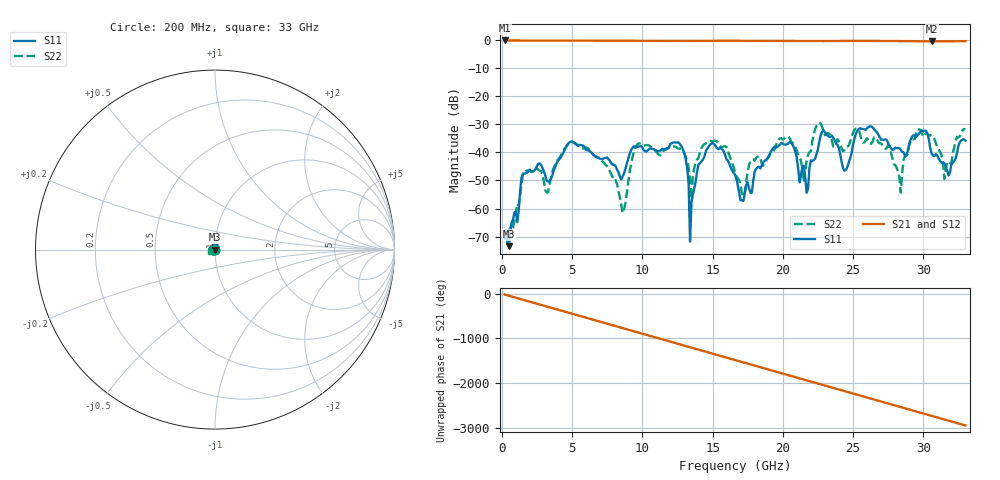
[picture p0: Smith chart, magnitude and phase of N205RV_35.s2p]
# GHZ S RI R 50
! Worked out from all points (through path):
!   329 points, 200 MHz to 33 GHz, reference 50 ohm
!   highest |S21| = -0.02 dB at 200 MHz (marker M1); lowest = -0.3 dB at 30.6 GHz (marker M2)
!   group delay of S21, straight-line fit = 248 ps
!   lowest |S11| = -73.4 dB at 500 MHz (marker M3), VSWR 1.00, Z = 50 + j0.0104 ohm
!   |S11| at or under -10 dB: start of sweep to end of sweep
!   |S22| runs from -71.2 to -29.3 dB; largest |S21 - S12| = 0.0019
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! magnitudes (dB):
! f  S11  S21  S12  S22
! 200 MHz  -69.5  0.0  0.0  -71.2
! 500 MHz  -73.4  0.0  0.0  -68.2
! 1.5 GHz  -47.5  -0.1  -0.1  -48.1
! 5.7 GHz  -37.4  -0.1  -0.1  -38.5
! 8.6 GHz  -48.6  -0.1  -0.1  -61.6
! 9.6 GHz  -38.1  -0.2  -0.2  -37.3
! 11.2 GHz  -39.5  -0.2  -0.2  -40.9
! 13 GHz  -40.4  -0.2  -0.2  -40.4
! 13.3 GHz  -51.2  -0.2  -0.2  -45.3
! 13.4 GHz  -71.8  -0.2  -0.2  -49.3
! 13.6 GHz  -55.0  -0.2  -0.2  -48.5
! 14.6 GHz  -38.8  -0.1  -0.1  -36.4
! 16.6 GHz  -47.9  -0.1  -0.1  -47.0
! 20.4 GHz  -36.8  -0.2  -0.2  -34.3
! 21.5 GHz  -44.8  -0.3  -0.3  -50.7
! 22.1 GHz  -43.0  -0.3  -0.3  -36.0
! 27.6 GHz  -37.6  -0.2  -0.2  -38.3
! 28.4 GHz  -39.1  -0.2  -0.2  -54.3
! 29.1 GHz  -35.4  -0.3  -0.3  -35.8
! 30.6 GHz  -40.4  -0.3  -0.3  -34.2
! 31.5 GHz  -43.8  -0.3  -0.3  -49.4
! 33 GHz  -35.8  -0.3  -0.3  -31.9
